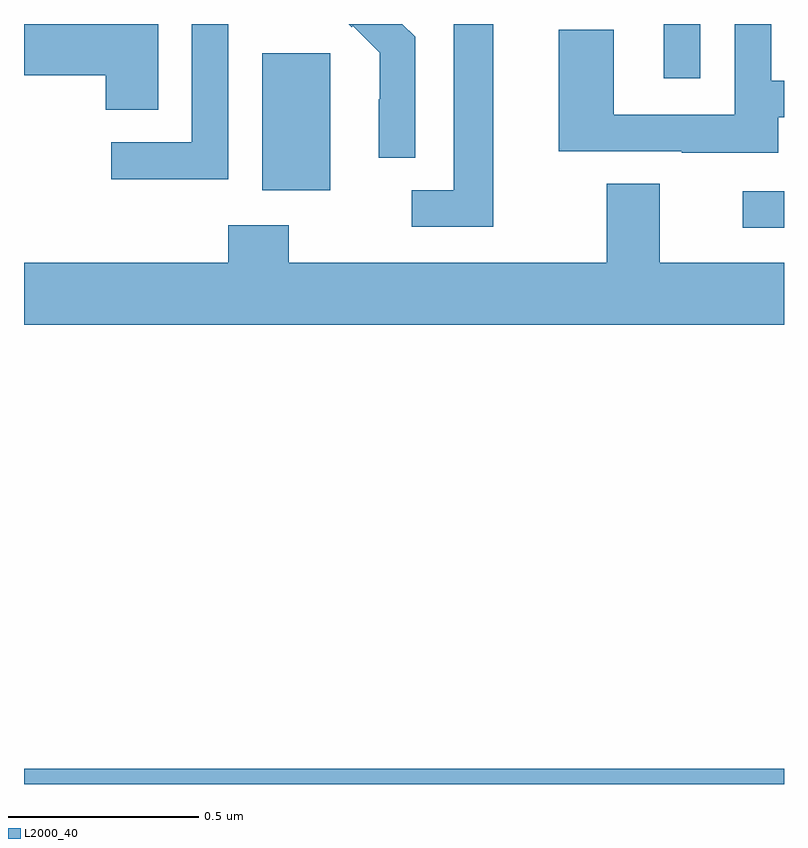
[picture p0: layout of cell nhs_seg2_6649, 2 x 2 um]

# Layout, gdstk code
import gdstk
lib = gdstk.Library(unit=1e-6, precision=1e-09)
def R(c, l, rs):  # rectangles x0, y0, x1, y1
    for r in rs: c.add(gdstk.rectangle(r[:2], r[2:], *l))
def P(c, l, *ps):  # polygons
    for p in ps: c.add(gdstk.Polygon(p, *l))
L2000_40 = (2000, 40)

nhs_seg2_6649 = lib.new_cell('nhs_seg2_6649')
R(nhs_seg2_6649, L2000_40, [(194,607.8,196,607.84), (195.891,609.264,196,609.36), (194.627,609.362,194.806,609.723), (195.683,609.657,195.78,609.8)])
P(nhs_seg2_6649, L2000_40, [(194.353,609.8),(194,609.8),(194,609.665),(194.215,609.665),(194.215,609.574),(194.353,609.574)],
  [(195.235,609.8),(195.131,609.8),(195.131,609.363),(195.021,609.363),(195.021,609.267),(195.235,609.267)],
  [(195.985,609.555),(196,609.555),(196,609.651),(195.966,609.651),(195.966,609.8),(195.87,609.8),(195.87,609.561),(195.552,609.561),(195.552,609.785),(195.407,609.785),(195.407,609.465),(195.731,609.465),(195.731,609.461),(195.985,609.461)],
  [(194.538,609.8),(194.442,609.8),(194.442,609.489),(194.229,609.489),(194.229,609.391),(194.538,609.391)],
  [(195.03,609.766),(194.996,609.8),(194.854,609.8),(194.862,609.792),(194.865,609.795),(194.936,609.725),(194.936,609.602),(194.934,609.602),(194.934,609.448),(195.03,609.448)],
  [(196,609.172),(195.673,609.172),(195.673,609.38),(195.533,609.38),(195.533,609.172),(194.697,609.172),(194.697,609.271),(194.537,609.271),(194.537,609.172),(194,609.172),(194,609.008),(196,609.008)])

lib.write_gds('nhs_seg2_6649.gds')
